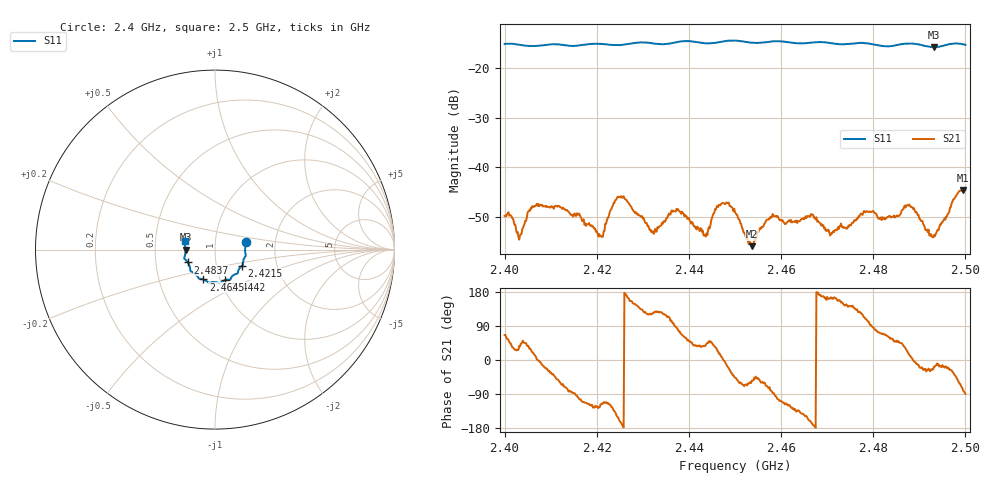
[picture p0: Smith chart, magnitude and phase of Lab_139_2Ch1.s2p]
# Hz S RI R 50
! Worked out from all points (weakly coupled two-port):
!   601 points, 2.4 GHz to 2.5 GHz, reference 50 ohm
!   highest |S21| = -44.61 dB at 2.4995 GHz (marker M1); lowest = -56.0 dB at 2.4537 GHz (marker M2)
!   lowest |S11| = -15.7 dB at 2.4932 GHz (marker M3), VSWR 1.39, Z = 36 - j0.0565 ohm
!   |S11| at or under -10 dB: start of sweep to end of sweep
!   S12 and S22 are empty: the file has one direction only
!   S11 on the Smith chart (normalised r, x): 2.4 GHz: 1.41, +0.12; 2.4215 GHz: 1.33, -0.25; 2.4442 GHz: 1.05, -0.37; 2.4645 GHz: 0.83, -0.29; 2.4837 GHz: 0.73, -0.11; 2.5 GHz: 0.71, +0.07
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2.4e9  0.1714 0.0401  0.0013 0.00294  0 0  0 0
2.403167e9  0.1711 0.0261  0.00148 0.00112  0 0  0 0
2.406833e9  0.1678 -0.0106  0.00407 0.000511  0 0  0 0
2.416667e9  0.1569 -0.0696  -0.000947 -0.0029  0 0  0 0
2.4215e9  0.151 -0.0898  -0.000819 -0.00209  0 0  0 0
2.425e9  0.1342 -0.1072  -0.00474 -0.00159  0 0  0 0
2.433333e9  0.1083 -0.1385  -0.00146 0.00194  0 0  0 0
2.437333e9  0.0875 -0.1613  0.000335 0.00379  0 0  0 0
2.444167e9  0.0565 -0.1693  0.00163 0.00163  0 0  0 0
2.446667e9  0.0365 -0.1805  0.00397 0.00121  0 0  0 0
2.45e9  0.0252 -0.189  0.00242 -0.00254  0 0  0 0
2.453667e9  0.00465 -0.1813  0.000933 -0.00129  0 0  0 0
2.458e9  -0.0283 -0.1845  0.000401 -0.00312  0 0  0 0
2.4645e9  -0.0657 -0.1661  -0.00234 -0.00187  0 0  0 0
2.466667e9  -0.0827 -0.1621  -0.00325 -0.000767  0 0  0 0
2.471e9  -0.0963 -0.1508  -0.00202 0.000645  0 0  0 0
2.483333e9  -0.1488 -0.0751  0.00156 0.00275  0 0  0 0
2.483667e9  -0.1509 -0.0717  0.00177 0.00266  0 0  0 0
2.488e9  -0.1715 -0.0482  0.00399 0.000793  0 0  0 0
2.493167e9  -0.1633 -0.000764  0.00196 -0.000627  0 0  0 0
2.4995e9  -0.1681 0.0473  0.000939 -0.00581  0 0  0 0
2.5e9  -0.1654 0.0504  6.67e-05 -0.00587  0 0  0 0
